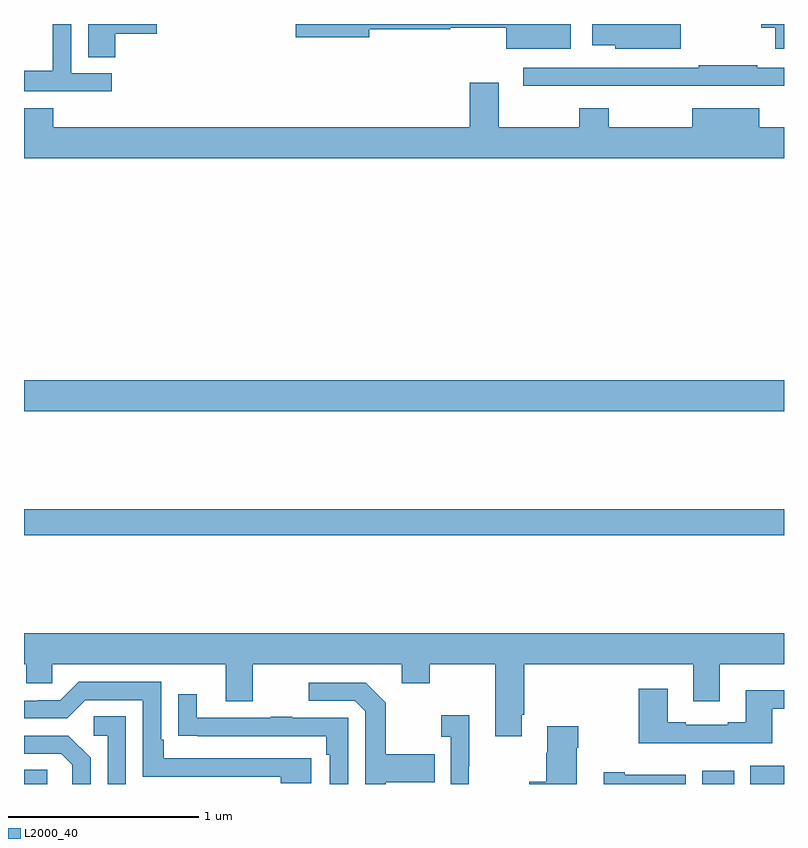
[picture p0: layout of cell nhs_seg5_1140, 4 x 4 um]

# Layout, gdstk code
import gdstk
lib = gdstk.Library(unit=1e-6, precision=1e-09)
def R(c, l, rs):  # rectangles x0, y0, x1, y1
    for r in rs: c.add(gdstk.rectangle(r[:2], r[2:], *l))
def P(c, l, *ps):  # polygons
    for p in ps: c.add(gdstk.Polygon(p, *l))
L2000_40 = (2000, 40)

nhs_seg5_1140 = lib.new_cell('nhs_seg5_1140')
R(nhs_seg5_1140, L2000_40, [(181,854.799,181.122,854.873), (184.571,854.799,184.738,854.869), (184.823,854.799,185,854.896), (181,856.108,185,856.244), (181,856.76,185,856.924)])
P(nhs_seg5_1140, L2000_40, [(183.877,858.799),(182.43,858.799),(182.43,858.73),(182.818,858.73),(182.818,858.772),(183.243,858.772),(183.243,858.78),(183.539,858.78),(183.539,858.668),(183.877,858.668)],
  [(184.456,858.799),(183.992,858.799),(183.992,858.686),(184.113,858.686),(184.113,858.668),(184.456,858.668)],
  [(185,858.799),(184.88,858.799),(184.88,858.779),(184.955,858.779),(184.955,858.668),(185,858.668)],
  [(181.481,858.749),(181.699,858.749),(181.699,858.799),(181.337,858.799),(181.337,858.625),(181.481,858.625)],
  [(181.462,858.54),(181.248,858.54),(181.248,858.799),(181.152,858.799),(181.152,858.776),(181.15,858.776),(181.15,858.553),(181,858.553),(181,858.444),(181.462,858.444)],
  [(184.421,858.474),(184.966,858.474),(184.966,858.473),(185,858.473),(185,858.57),(184.859,858.57),(184.859,858.583),(184.552,858.583),(184.552,858.57),(183.627,858.57),(183.627,858.474),(184.165,858.474),(184.165,858.473),(184.421,858.473)],
  [(185,858.256),(184.87,858.256),(184.87,858.355),(184.517,858.355),(184.517,858.256),(184.077,858.256),(184.077,858.355),(183.922,858.355),(183.922,858.256),(183.499,858.256),(183.499,858.49),(183.347,858.49),(183.347,858.256),(181.154,858.256),(181.154,858.355),(181.001,858.355),(181.001,858.256),(181,858.256),(181,858.092),(185,858.092)],
  [(183.619,855.163),(183.632,855.163),(183.632,855.428),(184.523,855.428),(184.523,855.234),(184.663,855.234),(184.663,855.428),(185,855.428),(185,855.592),(181,855.592),(181,855.428),(181.011,855.428),(181.011,855.33),(181.149,855.33),(181.149,855.428),(182.063,855.428),(182.063,855.234),(182.203,855.234),(182.203,855.428),(182.987,855.428),(182.987,855.329),(183.135,855.329),(183.135,855.428),(183.479,855.428),(183.479,855.051),(183.619,855.051)],
  [(182.512,854.934),(181.735,854.934),(181.735,855.031),(181.722,855.031),(181.722,855.336),(181.287,855.336),(181.191,855.24),(181.073,855.24),(181.073,855.237),(181,855.237),(181,855.144),(181.227,855.144),(181.323,855.24),(181.626,855.24),(181.626,854.838),(182.351,854.838),(182.351,854.804),(182.512,854.804)],
  [(182.905,854.807),(183.161,854.807),(183.161,854.955),(182.905,854.955),(182.905,855.227),(182.799,855.333),(182.499,855.333),(182.499,855.237),(182.742,855.237),(182.796,855.183),(182.796,854.799),(182.905,854.799)],
  [(184.939,855.195),(185,855.195),(185,855.292),(184.799,855.292),(184.799,855.124),(184.703,855.124),(184.703,855.111),(184.483,855.111),(184.483,855.124),(184.387,855.124),(184.387,855.301),(184.235,855.301),(184.235,855.014),(184.939,855.014)],
  [(182.706,855.147),(182.411,855.147),(182.411,855.152),(182.299,855.152),(182.299,855.147),(181.909,855.147),(181.909,855.271),(181.813,855.271),(181.813,855.052),(181.915,855.052),(181.915,855.051),(182.59,855.051),(182.59,854.954),(182.61,854.954),(182.61,854.799),(182.706,854.799)],
  [(183.342,854.893),(183.343,854.893),(183.343,855.16),(183.195,855.16),(183.195,855.047),(183.246,855.047),(183.246,854.799),(183.342,854.799)],
  [(181.536,855.155),(181.368,855.155),(181.368,855.054),(181.44,855.054),(181.44,854.799),(181.536,854.799)],
  [(183.91,854.99),(183.918,854.99),(183.918,855.103),(183.755,855.103),(183.755,854.963),(183.748,854.963),(183.748,854.81),(183.659,854.81),(183.659,854.799),(183.91,854.799)],
  [(181.35,854.938),(181.234,855.054),(181,855.054),(181,854.958),(181.196,854.958),(181.253,854.901),(181.253,854.799),(181.35,854.799)],
  [(184.483,854.848),(184.162,854.848),(184.162,854.861),(184.05,854.861),(184.05,854.799),(184.483,854.799)])

lib.write_gds('nhs_seg5_1140.gds')
